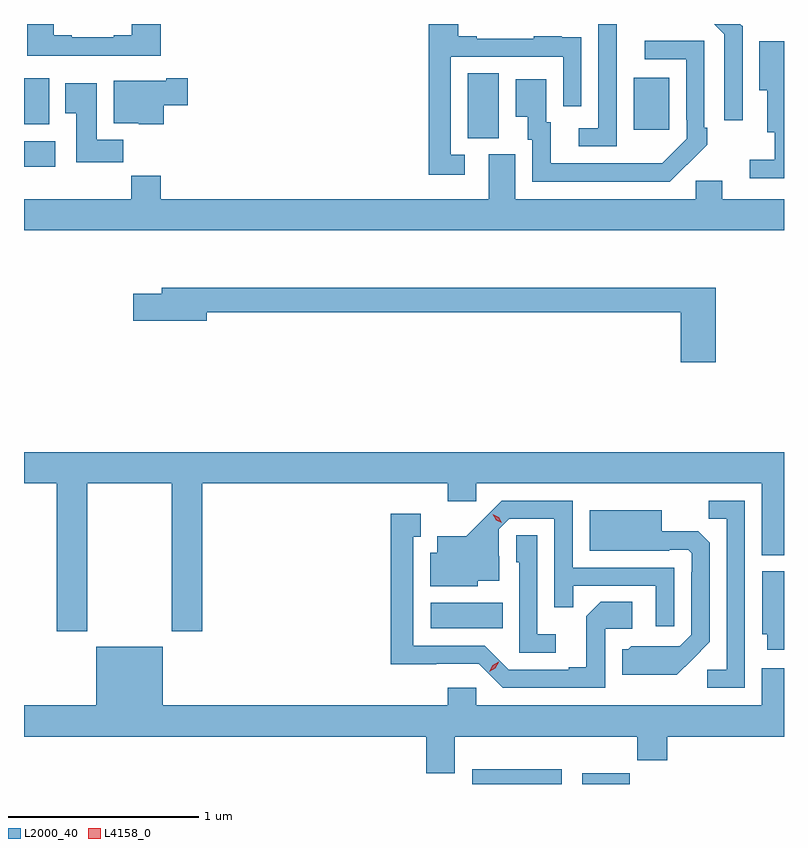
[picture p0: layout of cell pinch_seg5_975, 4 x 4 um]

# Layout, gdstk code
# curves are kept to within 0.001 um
import gdstk
lib = gdstk.Library(unit=1e-6, precision=1e-09)
def R(c, l, rs):  # rectangles x0, y0, x1, y1
    for r in rs: c.add(gdstk.rectangle(r[:2], r[2:], *l))
def P(c, l, *ps):  # polygons
    for p in ps: c.add(gdstk.Polygon(p, *l))
L2000_40 = (2000, 40)
L4158_0 = (4158, 0)

pinch_seg5_975 = lib.new_cell('pinch_seg5_975')
R(pinch_seg5_975, L2000_40, [(726.116,896.47,726.586,896.548), (726.695,896.47,726.944,896.527), (725.898,897.29,726.278,897.424), (723.757,899.72,723.922,899.854), (726.092,899.869,726.256,900.212), (726.965,899.913,727.153,900.187), (723.757,899.942,723.889,900.184)])
P(pinch_seg5_975, L2000_40, [(724.478,900.47),(724.325,900.47),(724.325,900.412),(724.229,900.412),(724.229,900.399),(724.009,900.399),(724.009,900.412),(723.913,900.412),(723.913,900.47),(723.773,900.47),(723.773,900.302),(724.478,900.302)],
  [(726.076,899.781),(726.003,899.781),(726.003,900.297),(726.594,900.297),(726.594,900.036),(726.69,900.036),(726.69,900.29),(726.689,900.29),(726.689,900.399),(726.587,900.399),(726.587,900.406),(726.439,900.406),(726.439,900.393),(726.139,900.393),(726.139,900.406),(726.043,900.406),(726.043,900.47),(725.887,900.47),(725.887,899.676),(726.076,899.676)],
  [(727.539,900.459),(727.528,900.47),(727.39,900.47),(727.443,900.417),(727.443,899.964),(727.539,899.964)],
  [(726.876,900.283),(726.877,900.283),(726.877,900.47),(726.78,900.47),(726.78,899.922),(726.678,899.922),(726.678,899.826),(726.876,899.826)],
  [(727.247,899.731),(727.248,899.73),(727.353,899.835),(727.353,899.923),(727.338,899.923),(727.338,900.381),(727.023,900.381),(727.023,900.285),(727.242,900.285),(727.242,899.965),(727.245,899.965),(727.245,899.865),(727.117,899.737),(726.529,899.736),(726.529,899.952),(726.505,899.952),(726.505,900.178),(726.344,900.178),(726.344,899.981),(726.407,899.981),(726.407,899.862),(726.432,899.862),(726.432,899.64),(727.156,899.64)],
  [(727.757,900.379),(727.628,900.379),(727.628,900.122),(727.67,900.122),(727.67,899.9),(727.707,899.9),(727.707,899.755),(727.578,899.755),(727.578,899.658),(727.757,899.658)],
  [(724.493,900.043),(724.618,900.043),(724.618,900.185),(724.505,900.185),(724.505,900.172),(724.229,900.172),(724.229,899.948),(724.362,899.948),(724.362,899.942),(724.493,899.942)],
  [(724.28,899.86),(724.141,899.86),(724.141,900.157),(723.974,900.157),(723.974,900.001),(724.031,900.001),(724.031,899.742),(724.28,899.742)],
  [(727.757,899.548),(727.432,899.548),(727.432,899.646),(727.293,899.646),(727.293,899.548),(726.343,899.548),(726.343,899.784),(726.203,899.784),(726.203,899.548),(724.478,899.548),(724.478,899.672),(724.321,899.672),(724.321,899.548),(723.757,899.548),(723.757,899.384),(727.757,899.384)],
  [(727.397,899.083),(724.481,899.083),(724.481,899.049),(724.332,899.049),(724.332,898.907),(724.72,898.907),(724.72,898.954),(727.214,898.954),(727.214,898.689),(727.397,898.689)],
  [(724.089,898.052),(724.534,898.052),(724.534,897.273),(724.694,897.273),(724.694,898.052),(725.987,898.052),(725.987,897.957),(726.138,897.957),(726.138,898.052),(727.64,898.052),(727.64,897.674),(727.757,897.674),(727.757,898.216),(723.757,898.216),(723.757,898.052),(723.929,898.052),(723.929,897.273),(724.089,897.273)],
  [(727.551,897.96),(727.36,897.96),(727.36,897.865),(727.455,897.865),(727.455,897.072),(727.353,897.072),(727.353,896.976),(727.551,896.976)],
  [(727.179,897.609),(726.645,897.609),(726.645,897.96),(726.272,897.96),(726.085,897.775),(725.933,897.775),(725.933,897.688),(725.894,897.688),(725.894,897.512),(726.144,897.512),(726.144,897.539),(726.259,897.539),(726.259,897.668),(726.255,897.668),(726.255,897.81),(726.312,897.867),(726.549,897.867),(726.549,897.4),(726.647,897.4),(726.647,897.513),(727.083,897.513),(727.083,897.3),(727.179,897.3)],
  [(727.273,897.125),(727.365,897.218),(727.365,897.74),(727.306,897.799),(727.114,897.799),(727.114,897.91),(726.734,897.91),(726.734,897.698),(727.154,897.698),(727.154,897.702),(727.254,897.702),(727.272,897.684),(727.272,897.584),(727.269,897.584),(727.269,897.255),(727.209,897.195),(726.952,897.196),(726.936,897.18),(726.905,897.18),(726.905,897.044),(727.193,897.044)],
  [(726.816,897.288),(726.958,897.288),(726.958,897.428),(726.793,897.428),(726.717,897.352),(726.717,897.085),(726.623,897.085),(726.623,897.072),(726.309,897.072),(726.183,897.198),(725.806,897.198),(725.806,897.771),(725.845,897.771),(725.845,897.892),(725.688,897.892),(725.688,897.101),(726.15,897.102),(726.276,896.976),(726.816,896.976)],
  [(726.556,897.259),(726.459,897.259),(726.459,897.779),(726.348,897.779),(726.348,897.636),(726.363,897.636),(726.363,897.162),(726.556,897.162)],
  [(727.757,897.589),(727.643,897.589),(727.643,897.258),(727.67,897.258),(727.67,897.177),(727.757,897.177)],
  [(726.025,896.72),(726.985,896.72),(726.985,896.596),(727.142,896.596),(727.142,896.72),(727.757,896.72),(727.757,897.079),(727.64,897.079),(727.64,896.884),(726.138,896.884),(726.138,896.977),(725.987,896.977),(725.987,896.884),(724.486,896.884),(724.486,897.193),(724.136,897.193),(724.136,896.884),(723.757,896.884),(723.757,896.72),(725.873,896.72),(725.873,896.526),(726.025,896.526)])
P(pinch_seg5_975, L4158_0, [(726.272,897.844),(726.242,897.859),(726.224,897.889),(726.224,897.889),(726.225,897.889),(726.255,897.874),(726.272,897.844),(726.272,897.844)],
  [(726.205,897.061),(726.205,897.061),(726.223,897.094),(726.255,897.113),(726.255,897.113),(726.255,897.112),(726.237,897.08),(726.206,897.061)])

lib.write_gds('pinch_seg5_975.gds')
